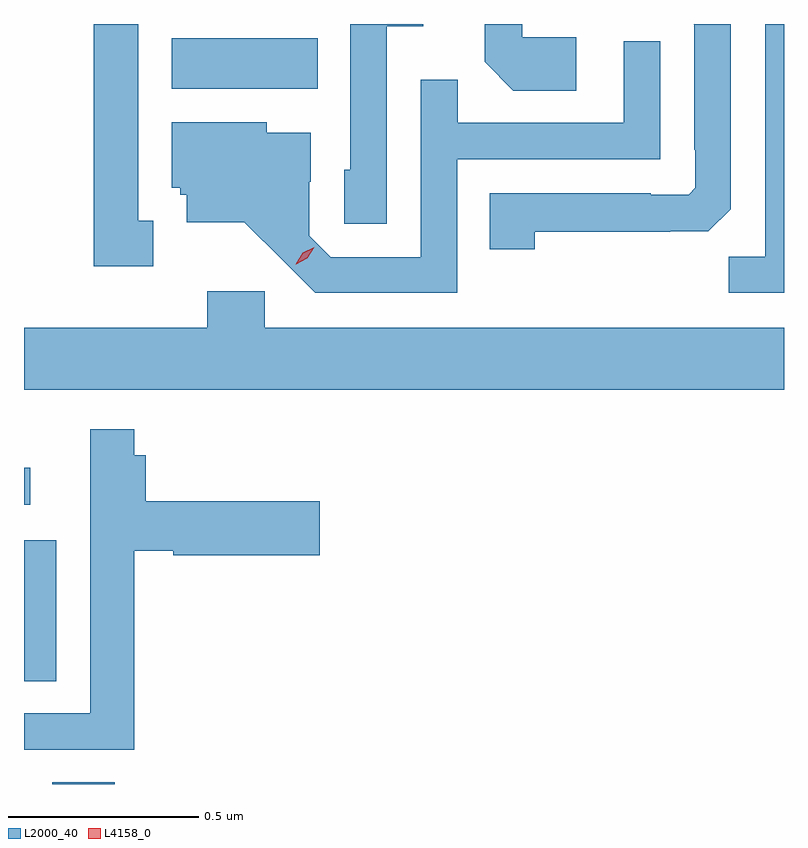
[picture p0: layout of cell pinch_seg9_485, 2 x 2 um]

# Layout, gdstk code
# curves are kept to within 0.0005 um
import gdstk
lib = gdstk.Library(unit=1e-6, precision=1e-09)
def R(c, l, rs):  # rectangles x0, y0, x1, y1
    for r in rs: c.add(gdstk.rectangle(r[:2], r[2:], *l))
def P(c, l, *ps):  # polygons
    for p in ps: c.add(gdstk.Polygon(p, *l))
L2000_40 = (2000, 40)
L4158_0 = (4158, 0)

pinch_seg9_485 = lib.new_cell('pinch_seg9_485')
R(pinch_seg9_485, L2000_40, [(265.595,1195.383,265.76,1195.388), (265.521,1195.654,265.606,1196.025), (265.521,1196.118,265.537,1196.215), (265.91,1197.212,266.294,1197.346)])
P(pinch_seg9_485, L2000_40, [(265.861,1196.865),(265.822,1196.865),(265.822,1197.383),(265.704,1197.383),(265.704,1196.745),(265.861,1196.745)],
  [(266.974,1197.348),(266.832,1197.348),(266.832,1197.383),(266.733,1197.383),(266.733,1197.284),(266.809,1197.208),(266.974,1197.208)],
  [(266.475,1197.377),(266.572,1197.377),(266.572,1197.383),(266.379,1197.383),(266.379,1197),(266.364,1197),(266.364,1196.857),(266.475,1196.857)],
  [(266.865,1196.836),(267.221,1196.836),(267.221,1196.837),(267.322,1196.837),(267.381,1196.896),(267.381,1197.383),(267.283,1197.383),(267.285,1197.381),(267.285,1197.052),(267.288,1197.052),(267.288,1196.952),(267.27,1196.934),(267.17,1196.934),(267.17,1196.937),(266.746,1196.937),(266.746,1196.79),(266.865,1196.79)],
  [(267.521,1197.383),(267.471,1197.383),(267.471,1196.771),(267.376,1196.771),(267.376,1196.676),(267.521,1196.676)],
  [(266.661,1197.027),(267.195,1197.027),(267.195,1197.337),(267.099,1197.337),(267.099,1197.123),(266.663,1197.123),(266.663,1197.236),(266.565,1197.236),(266.565,1196.769),(266.328,1196.769),(266.271,1196.826),(266.271,1196.968),(266.275,1196.968),(266.275,1197.097),(266.16,1197.097),(266.16,1197.124),(265.91,1197.124),(265.91,1196.952),(265.932,1196.952),(265.932,1196.934),(265.949,1196.934),(265.949,1196.861),(266.101,1196.861),(266.288,1196.676),(266.661,1196.676)],
  [(267.521,1196.584),(266.154,1196.584),(266.154,1196.68),(266.003,1196.68),(266.003,1196.584),(265.521,1196.584),(265.521,1196.42),(267.521,1196.42)],
  [(265.811,1195.997),(265.914,1195.997),(265.914,1195.985),(266.299,1195.985),(266.299,1196.127),(265.841,1196.127),(265.841,1196.248),(265.811,1196.248),(265.811,1196.317),(265.695,1196.317),(265.695,1195.569),(265.521,1195.569),(265.521,1195.473),(265.811,1195.473)])
P(pinch_seg9_485, L4158_0, [(266.236,1196.751),(266.236,1196.751),(266.254,1196.781),(266.285,1196.796),(266.285,1196.796),(266.285,1196.796),(266.267,1196.766),(266.237,1196.751)])

lib.write_gds('pinch_seg9_485.gds')
